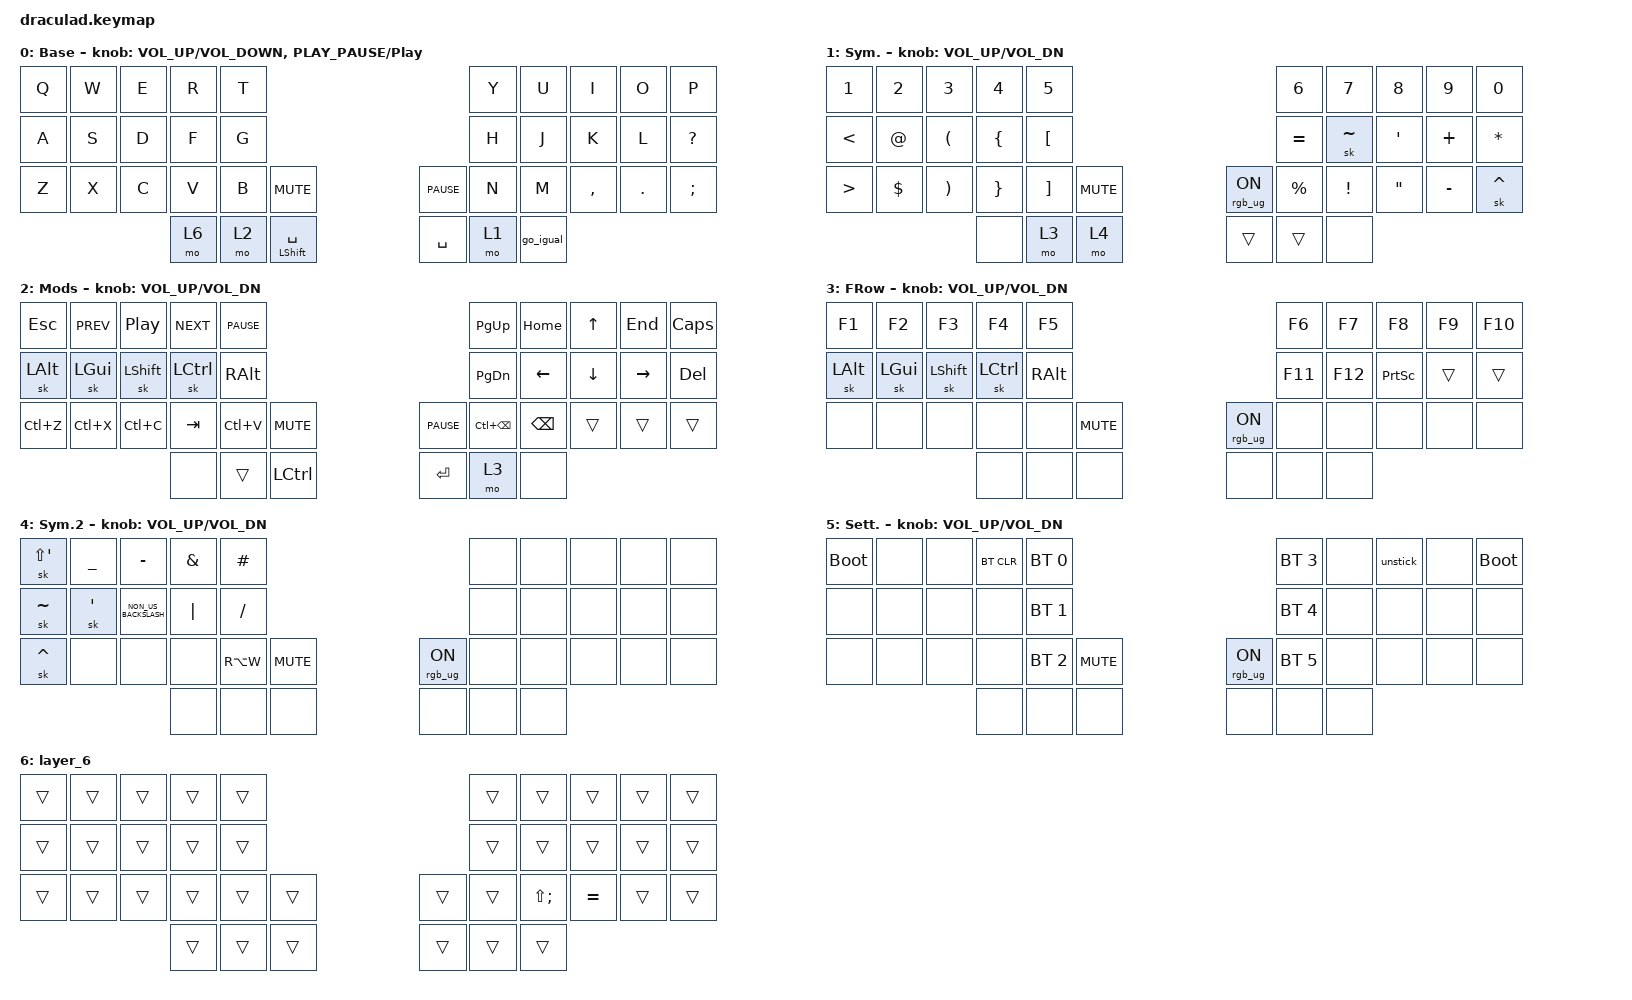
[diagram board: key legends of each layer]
/*
 * Copyright (c) 2020 duckyb
 *
 * SPDX-License-Identifier: MIT
 */

#include <behaviors.dtsi>
#include <dt-bindings/zmk/bt.h>
#include <dt-bindings/zmk/keys.h>
#include <dt-bindings/zmk/rgb.h>

// Layer definitions

#define BASE 0
#define SYM 1
#define EXT 2
#define FNC 3
#define SYM2 4
#define ACCENT 5
#define SETTINGS 6

// -----------------

&sk {
    // don't release mods on other mods presses

    ignore-modifiers;
};

/ {
    behaviors {
        // Enables holding the first mod-tap key by performing a tap-release-hold sequence.
        // To use it: "&qt KEYCODE1 KEYCODE2"

        qt: quick_tap {
            compatible = "zmk,behavior-hold-tap";
            label = "QUICK_TAP";
            #binding-cells = <2>;
            flavor = "hold-preferred";
            tapping-term-ms = <200>;
            quick-tap-ms = <200>;
            bindings = <&kp>, <&kp>;
        };
    };

    macros {
        // sometimes my device thinks a modifier is being held down
        // pressing all modifiers fixes it.

        unstick: unstick {
            label = "ZM_unstick";
            compatible = "zmk,behavior-macro";
            #binding-cells = <0>;
            bindings = <&kp LSHIFT &kp RSHIFT &kp LCTRL &kp RCTRL &kp LALT &kp RALT &kp LGUI &kp RGUI>;
        };

        caret: caret {
            compatible = "zmk,behavior-macro";
            #binding-cells = <0>;
            bindings = <&sk LS(NUMBER_6) &kp E>;
            label = "CARET";
        };

        quote: quote {
            compatible = "zmk,behavior-macro";
            #binding-cells = <0>;
            bindings = <&sk LS(SINGLE_QUOTE) &kp E>;
            label = "QUOTE";
        };

        tilde: tilde {
            compatible = "zmk,behavior-macro";
            #binding-cells = <0>;
            bindings = <&sk TILDE &kp A>;
            label = "TILDE";
        };

        accent: accent {
            compatible = "zmk,behavior-macro";
            #binding-cells = <0>;
            bindings = <&sk GRAVE &kp A>;
            label = "ACCENT";
        };

        crtlAlt: crtlAlt {
            compatible = "zmk,behavior-macro";
            #binding-cells = <0>;
            bindings = <&kp RCTRL &kp LEFT_ALT>;
            label = "CRTLALT";
        };

        go_igual: go_igual {
            compatible = "zmk,behavior-macro";
            #binding-cells = <0>;
            bindings = <&kp LS(SEMICOLON) &kp EQUAL>;
            label = "GO_IGUAL";
        };
    };

    combos {
        compatible = "zmk,combos";

        // both right thumb keys

        combo_accent {
            timeout-ms = <200>;
            key-positions = <36 34>;
            bindings = <&mo 0>;
        };

        // internal-left & external-right thumb keys

        combo_sym2 {
            timeout-ms = <200>;
            key-positions = <35 36>;
            bindings = <&mo 4>;
        };

        // both left thumb keys

        combo_settings {
            timeout-ms = <200>;
            key-positions = <30 31>;
            bindings = <&mo 5>;
        };

        // left index & middle fingers (home-row)
        // hold control & space for Adobe workflow

        Backspace {
            bindings = <&kp BACKSPACE>;
            key-positions = <33 34>;
        };

        Tab {
            bindings = <&kp TAB>;
            key-positions = <4 3>;
        };

        Esc {
            bindings = <&kp ESCAPE>;
            key-positions = <0 1>;
        };

        Ctrl-stiky {
            bindings = <&sk LEFT_CONTROL>;
            key-positions = <20 21>;
        };

        Shift_sticky {
            bindings = <&sk LEFT_SHIFT>;
            key-positions = <10 11>;
        };

        Play-Pause {
            bindings = <&kp C_PLAY_PAUSE>;
            key-positions = <2 3>;
        };

        Enter {
            bindings = <&kp RETURN>;
            key-positions = <23 22 24>;
        };

        Linguagem {
            bindings = <&kp LG(SPACE)>;
            key-positions = <33 34 35 36>;
        };

        enter2 {
            bindings = <&kp RETURN>;
            key-positions = <27 28 29>;
        };

        backspace2 {
            bindings = <&kp BACKSPACE>;
            key-positions = <15 16>;
        };

        ControlAlt {
            bindings = <&crtlAlt>;
            key-positions = <20 10 0>;
        };

        PrintScreem {
            bindings = <&kp PRINTSCREEN>;
            key-positions = <0 4>;
        };

        FormatarVS {
            bindings = <&kp LA(LS(F))>;
            key-positions = <20 24>;
        };

        Terminal {
            bindings = <&kp LC(GRAVE)>;
            key-positions = <14 20>;
        };

        CtrlB {
            bindings = <&kp LC(B)>;
            key-positions = <20 4>;
        };

        Comment {
            bindings = <&kp LC(SLASH)>;
            key-positions = <10 14>;
        };
    };

    /* KEY POSITIONS
        ╭────────────────────╮ ╭────────────────────╮
        │  0   1   2   3   4 │ │  5   6   7   8   9 │
        │ 10  11  12  13  14 │ │ 15  16  17  18  19 │
        │ 20  21  22  23  24 │ │ 25  26  27  28  29 │
        ╰───────╮         30 │ │ 31       ╭─────────╯
                │ 32  33  34 │ │ 35 36 37 │
                ╰────────────╯ ╰──────────╯
        */

    keymap {
        compatible = "zmk,keymap";

        // Base alpha layer

        default_layer {
            label = "Base";
            bindings = <
&kp Q  &kp W  &kp E  &kp R  &kp T                                   &kp Y  &kp U      &kp I      &kp O    &kp P
&kp A  &kp S  &kp D  &kp F  &kp G                                   &kp H  &kp J      &kp K      &kp L    &kp QMARK
&kp Z  &kp X  &kp C  &kp V  &kp B  &kp C_MUTE          &kp C_PAUSE  &kp N  &kp M      &kp COMMA  &kp DOT  &kp SEMICOLON
                     &mo 6  &mo 2  &qt LSHIFT SPACE    &kp SPACE    &mo 1  &go_igual
            >;

            sensor-bindings =
                <&inc_dec_kp C_VOLUME_UP C_VOLUME_DOWN>,
                <&inc_dec_kp K_PLAY_PAUSE C_PLAY_PAUSE>;
        };

        // Numbers and high frequency symbols

        sym_layer {
            label = "Sym.";
            bindings = <
&kp N1            &kp N2       &kp N3                 &kp NUMBER_4     &kp N5                                           &kp NUMBER_6  &kp N7           &kp N8             &kp N9     &kp N0
&kp LESS_THAN     &kp AT_SIGN  &kp LEFT_PARENTHESIS   &kp LEFT_BRACE   &kp LEFT_BRACKET                                 &kp EQUAL     &sk TILDE        &kp SINGLE_QUOTE   &kp PLUS   &kp ASTERISK
&kp GREATER_THAN  &kp DOLLAR   &kp RIGHT_PARENTHESIS  &kp RIGHT_BRACE  &kp RIGHT_BRACKET  &kp C_MUTE    &rgb_ug RGB_ON  &kp PERCENT   &kp EXCLAMATION  &kp DOUBLE_QUOTES  &kp MINUS  &sk CARET
                                                      &none            &mo 3              &mo 4         &trans          &trans        &none
            >;

            sensor-bindings = <&inc_dec_kp C_VOL_UP C_VOL_DN>;
        };

        // Main modifiers and arrow keys

        ext_layer {
            label = "Mods";
            bindings = <
&kp ESC    &kp C_PREV  &kp C_PP    &kp C_NEXT  &kp C_PAUSE                             &kp PG_UP     &kp HOME  &kp UP    &kp END    &kp CAPS
&sk LALT   &sk LGUI    &sk LSHIFT  &sk LCTRL   &kp RALT                                &kp PG_DN     &kp LEFT  &kp DOWN  &kp RIGHT  &kp DEL
&kp LC(Z)  &kp LC(X)   &kp LC(C)   &kp TAB     &kp LC(V)    &kp C_MUTE    &kp C_PAUSE  &kp LC(BSPC)  &kp BSPC  &trans    &trans     &trans
                                   &none       &trans       &kp LCTRL     &kp ENTER    &mo 3         &none
            >;

            sensor-bindings = <&inc_dec_kp C_VOL_UP C_VOL_DN>;
        };

        // Function keys with modifiers

        fnc_layer {
            label = "FRow";
            bindings = <
&kp F1    &kp F2    &kp F3      &kp F4     &kp F5                                  &kp F6   &kp F7   &kp F8           &kp F9  &kp F10
&sk LALT  &sk LGUI  &sk LSHIFT  &sk LCTRL  &kp RALT                                &kp F11  &kp F12  &kp PRINTSCREEN  &trans  &trans
&none     &none     &none       &none      &none     &kp C_MUTE    &rgb_ug RGB_ON  &none    &none    &none            &none   &none
                                &none      &none     &none         &none           &none    &none
            >;

            sensor-bindings = <&inc_dec_kp C_VOL_UP C_VOL_DN>;
        };

        // Low frequency symbols

        symbols_2_layer {
            label = "Sym.2";
            bindings = <
&sk LS(SINGLE_QUOTE)  &kp UNDERSCORE    &kp MINUS             &kp AMPERSAND  &kp POUND                                &none  &none  &none  &none  &none
&sk TILDE             &sk SINGLE_QUOTE  &kp NON_US_BACKSLASH  &kp PIPE       &kp SLASH                                &none  &none  &none  &none  &none
&sk CARET             &none             &none                 &none          &kp RA(W)  &kp C_MUTE    &rgb_ug RGB_ON  &none  &none  &none  &none  &none
                                                              &none          &none      &none         &none           &none  &none
            >;

            sensor-bindings = <&inc_dec_kp C_VOL_UP C_VOL_DN>;
        };

        // Used to type regional accents
        // Used to change the keyboard's settings

        settings_layer {
            label = "Sett.";
            bindings = <
&bootloader  &none  &none  &bt BT_CLR  &bt BT_SEL 0                                &bt BT_SEL 3  &none  &unstick  &none  &bootloader
&none        &none  &none  &none       &bt BT_SEL 1                                &bt BT_SEL 4  &none  &none     &none  &none
&none        &none  &none  &none       &bt BT_SEL 2  &kp C_MUTE    &rgb_ug RGB_ON  &bt BT_SEL 5  &none  &none     &none  &none
                           &none       &none         &none         &none           &none         &none
            >;

            sensor-bindings = <&inc_dec_kp C_VOL_UP C_VOL_DN>;
        };

        layer_6 {
            bindings = <
&trans  &trans  &trans  &trans  &trans                    &trans  &trans        &trans     &trans  &trans
&trans  &trans  &trans  &trans  &trans                    &trans  &trans        &trans     &trans  &trans
&trans  &trans  &trans  &trans  &trans  &trans    &trans  &trans  &kp LS(SEMI)  &kp EQUAL  &trans  &trans
                        &trans  &trans  &trans    &trans  &trans  &trans
            >;
        };
    };
};
